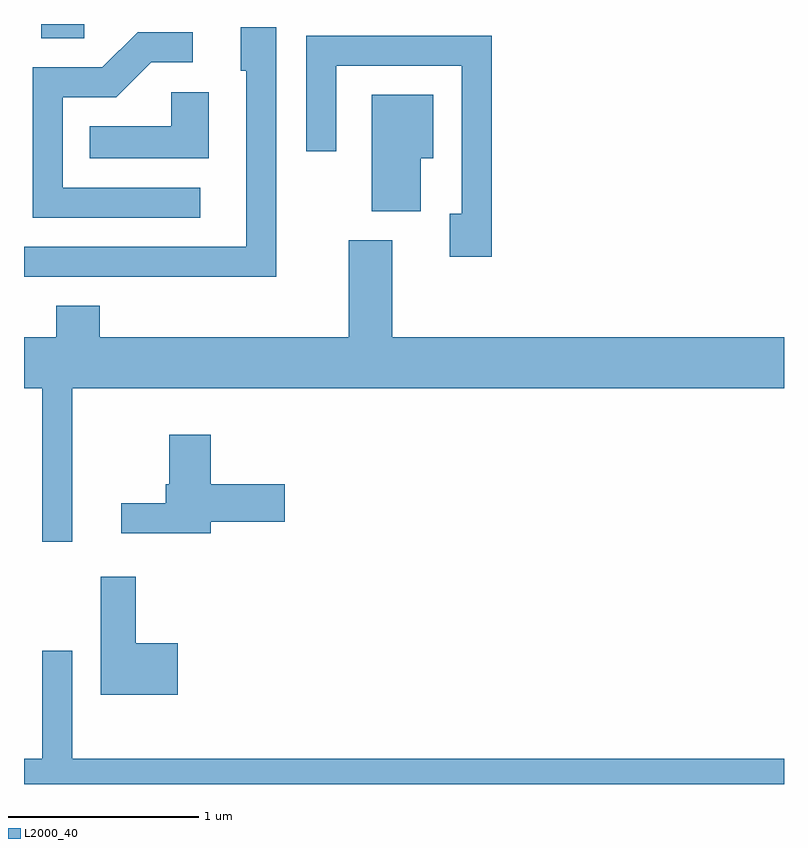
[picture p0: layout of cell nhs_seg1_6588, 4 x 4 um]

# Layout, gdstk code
import gdstk
lib = gdstk.Library(unit=1e-6, precision=1e-09)
def R(c, l, rs):  # rectangles x0, y0, x1, y1
    for r in rs: c.add(gdstk.rectangle(r[:2], r[2:], *l))
def P(c, l, *ps):  # polygons
    for p in ps: c.add(gdstk.Polygon(p, *l))
L2000_40 = (2000, 40)

nhs_seg1_6588 = lib.new_cell('nhs_seg1_6588')
R(nhs_seg1_6588, L2000_40, [(383.701,903.636,383.929,903.712)])
P(nhs_seg1_6588, L2000_40, [(384.939,903.694),(384.751,903.694),(384.751,903.466),(384.781,903.466),(384.781,902.539),(383.611,902.539),(383.611,902.381),(384.939,902.381)],
  [(384.538,902.849),(383.814,902.849),(383.814,903.326),(384.097,903.326),(384.282,903.511),(384.498,903.511),(384.498,903.669),(384.209,903.669),(384.024,903.484),(383.656,903.484),(383.656,902.691),(384.538,902.691)],
  [(386.074,903.649),(385.096,903.649),(385.096,903.043),(385.254,903.043),(385.254,903.491),(385.916,903.491),(385.916,902.714),(385.851,902.714),(385.851,902.486),(386.074,902.486)],
  [(384.584,903.354),(384.386,903.354),(384.386,903.174),(383.958,903.174),(383.958,903.006),(384.584,903.006)],
  [(385.699,903.006),(385.764,903.006),(385.764,903.339),(385.441,903.339),(385.441,902.726),(385.699,902.726)],
  [(383.864,901.796),(387.611,901.796),(387.611,902.064),(385.549,902.064),(385.549,902.574),(385.321,902.574),(385.321,902.064),(384.009,902.064),(384.009,902.229),(383.781,902.229),(383.781,902.064),(383.611,902.064),(383.611,901.796),(383.706,901.796),(383.706,900.988),(383.864,900.988)],
  [(384.594,901.091),(384.984,901.091),(384.984,901.289),(384.594,901.289),(384.594,901.549),(384.376,901.549),(384.376,901.289),(384.356,901.289),(384.356,901.189),(384.123,901.189),(384.123,901.031),(384.594,901.031)],
  [(384.419,900.454),(384.199,900.454),(384.199,900.804),(384.016,900.804),(384.016,900.181),(384.419,900.181)],
  [(387.611,899.844),(383.864,899.844),(383.864,900.413),(383.706,900.413),(383.706,899.844),(383.611,899.844),(383.611,899.712),(387.611,899.712)])

lib.write_gds('nhs_seg1_6588.gds')
